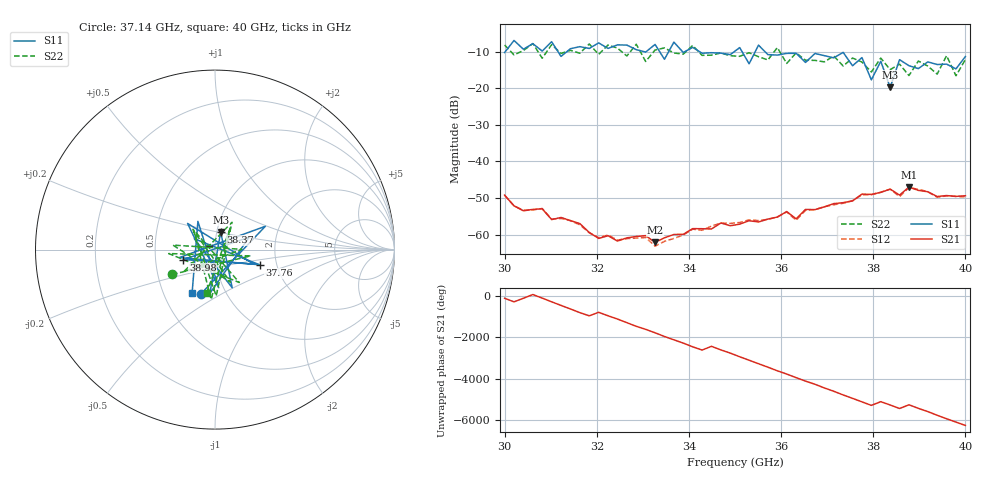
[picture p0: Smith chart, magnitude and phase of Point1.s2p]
! 10/2/2026 3:06:58 PM
! C:\ANRITSUVNA\TEMP\TEMP.S2P
! CHANNEL.1
! TR.MEASUREMENT
! RAW.DATA
# HZ S RI R 50.0
! FREQ.HZ  S11RE  S11IM  S21RE  S21IM  S12RE  S12IM  S22RE  S22IM
!; PortSelection: Port_12
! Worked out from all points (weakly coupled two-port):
!   50 points, 30 GHz to 40 GHz, reference 50 ohm
!   highest |S21| = -47.01 dB at 38.78 GHz (marker M1); lowest = -62.1 dB at 33.27 GHz (marker M2)
!   lowest |S11| = -19.8 dB at 38.37 GHz (marker M3), VSWR 1.23, Z = 52.2 + j10.3 ohm
!   |S11| at or under -10 dB: start of sweep to 30.01456 GHz; 34.23 GHz to 34.98 GHz (754.2 MHz wide, 2.18 % of centre); 35.65 GHz to end of sweep (the widest 3 of 8)
!   |S22| runs from -16.6 to -7.8 dB; largest |S21 - S12| = 0.0053
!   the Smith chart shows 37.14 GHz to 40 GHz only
!   S11 on the Smith chart (normalised r, x): 37.14 GHz: 0.76, -0.40; 37.76 GHz: 1.63, -0.30; 38.37 GHz: 1.04, +0.21; 38.98 GHz: 0.70, -0.08; 40 GHz: 0.70, -0.36
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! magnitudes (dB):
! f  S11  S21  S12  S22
! 30 GHz  -10.2  -49.2  -49.3  -8.2
! 30.82 GHz  -9.8  -53.0  -52.9  -11.8
! 31.84 GHz  -9.1  -59.4  -59.5  -7.9
! 33.27 GHz  -8.0  -62.1  -63.2  -9.6
! 33.47 GHz  -12.1  -60.9  -61.9  -9.0
! 33.67 GHz  -7.4  -60.0  -61.1  -10.4
! 35.1 GHz  -8.9  -57.2  -56.7  -11.3
! 35.31 GHz  -13.3  -56.2  -56.0  -10.3
! 35.51 GHz  -8.2  -56.6  -56.2  -11.4
! 36.73 GHz  -10.5  -53.2  -53.2  -12.4
! 37.14 GHz  -11.7  -51.5  -51.9  -11.2
! 37.76 GHz  -11.6  -48.9  -49.2  -12.8
! 37.96 GHz  -17.7  -49.0  -49.1  -15.6
! 38.16 GHz  -12.6  -48.5  -48.4  -11.8
! 38.37 GHz  -19.8  -47.6  -47.6  -14.9
! 38.57 GHz  -12.2  -49.2  -49.6  -13.4
! 38.78 GHz  -13.8  -47.0  -47.2  -16.5
! 38.98 GHz  -14.6  -47.9  -47.6  -12.6
! 39.39 GHz  -13.5  -49.6  -49.8  -16.1
! 39.59 GHz  -13.4  -49.3  -49.4  -11.1
! 39.8 GHz  -14.7  -49.6  -49.6  -16.6
! 40 GHz  -11.3  -49.4  -49.7  -12.2
